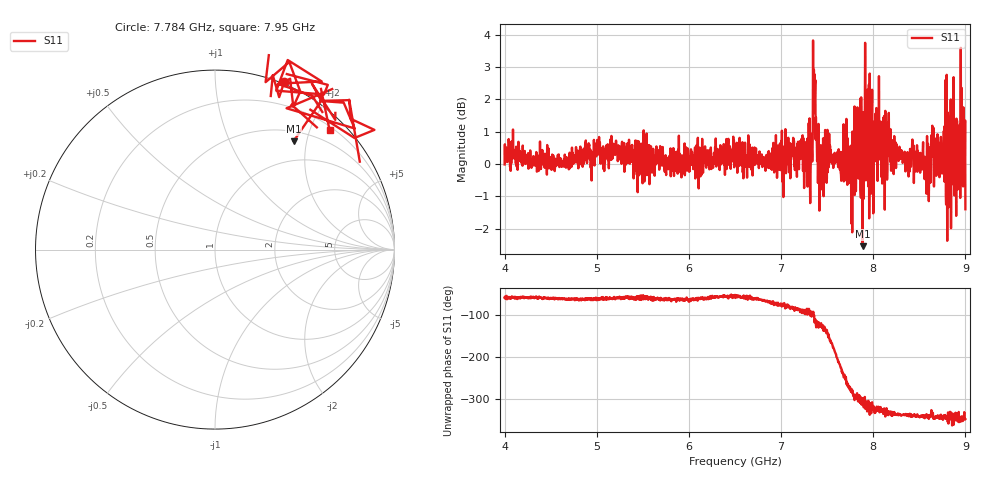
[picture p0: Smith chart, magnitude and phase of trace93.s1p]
! Created with skrf 1.8.0 (http://scikit-rf.org).
# Hz S RI R 50.0
!freq ReS11 ImS11
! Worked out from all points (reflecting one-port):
!   1601 points, 4 GHz to 9 GHz, reference 50 ohm
!   lowest |S11| = -2.5 dB at 7.884 GHz (marker M1), VSWR 6.87, Z = 32.6 + j88.7 ohm
!   phase of S11 starts at -59 deg and turns -289 deg over the sweep
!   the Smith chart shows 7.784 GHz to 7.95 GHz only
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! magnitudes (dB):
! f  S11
! 4 GHz  0.0
! 4.625 GHz  -0.1
! 5.25 GHz  0.2
! 5.875 GHz  0.2
! 6.5 GHz  0.1
! 7.125 GHz  0.3
! 7.312 GHz  -0.2
! 7.347 GHz  3.8
! 7.369 GHz  2.4
! 7.4 GHz  -0.6
! 7.425 GHz  0.2
! 7.525 GHz  0.5
! 7.75 GHz  -0.6
! 7.788 GHz  -0.7
! 7.822 GHz  -0.2
! 7.884 GHz  -2.5
! 7.928 GHz  0.4
! 7.944 GHz  2.1
! 7.962 GHz  2.8
! 7.981 GHz  -0.9
! 8.038 GHz  0.9
! 8.375 GHz  0.0
! 8.581 GHz  -0.1
! 8.631 GHz  0.9
! 8.759 GHz  0.6
! 8.919 GHz  -0.5
! 8.972 GHz  0.7
! 9 GHz  -1.4
